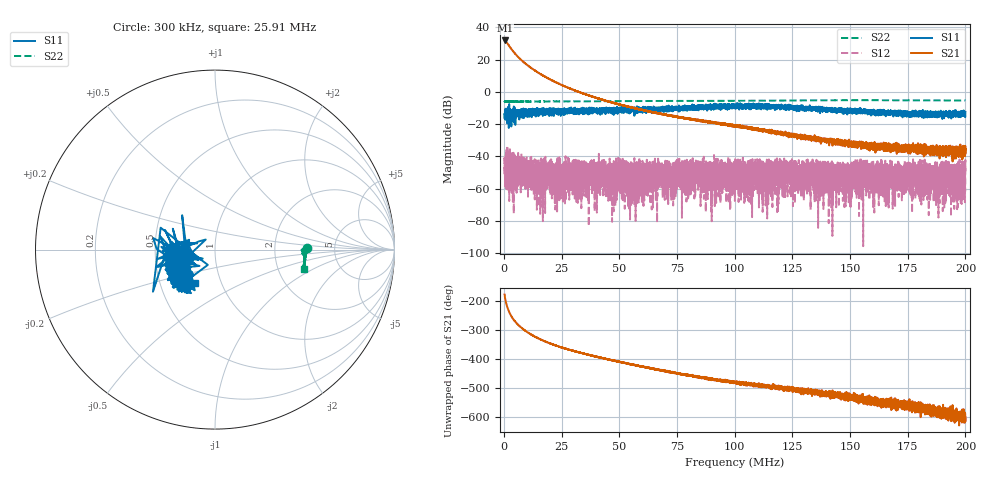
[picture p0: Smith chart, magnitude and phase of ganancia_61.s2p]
# Hz S DB R 50
! CMT, M5065, 19127446, 24.2.4/2
! Date: 11/8/2024 3:26:05 PM
! Data: Format (Calibration Info)
! Freq	S11:dB/Ang(F2)	S21:dB/Ang(F2)	S12:dB/Ang(F2)	S22:dB/Ang(F2)
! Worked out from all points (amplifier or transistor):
!   9000 points, 300 kHz to 200 MHz, reference 50 ohm
!   highest |S21| = 31.9 dB at 322.2 kHz (marker M1)
!   |S21| within 3 dB of that: start of sweep to 2.027 MHz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
!   unconditionally stable (mu >= 1): start of sweep to 971.1 kHz; 1.459 MHz to 2.54 MHz; 2.542 MHz to end of sweep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
!   at 33.59 MHz: K = 117.75, MAG = 1.0 dB, |S12| = -50.0 dB
!   at 100.2 MHz: K = 6003.91, MAG = -19.2 dB, |S12| = -64.6 dB
!   at 200 MHz: K = 5694.52, MAG = -34.0 dB, |S12| = -48.9 dB
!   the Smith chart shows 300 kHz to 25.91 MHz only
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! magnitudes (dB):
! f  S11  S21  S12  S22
! 300 kHz  -14.0  31.9  -40.3  -5.8
! 322.2 kHz  -16.6  31.9  -42.3  -6.1
! 3.274 MHz  -11.8  26.5  -51.1  -6.0
! 6.336 MHz  -12.9  21.4  -40.0  -6.0
! 12.88 MHz  -12.4  13.8  -52.1  -6.0
! 18.9 MHz  -12.0  8.6  -59.9  -6.0
! 33.59 MHz  -11.8  -0.6  -50.0  -5.9
! 48.48 MHz  -10.8  -7.1  -54.3  -5.8
! 52.58 MHz  -11.3  -8.8  -48.5  -5.8
! 54.85 MHz  -12.9  -9.6  -68.7  -5.7
! 66.87 MHz  -11.7  -13.2  -45.1  -5.6
! 100.2 MHz  -8.1  -21.3  -64.6  -5.5
! 111.4 MHz  -10.4  -23.7  -59.4  -5.5
! 117 MHz  -9.8  -25.2  -46.1  -5.5
! 133.4 MHz  -11.3  -29.0  -47.7  -5.3
! 137.2 MHz  -10.5  -29.5  -43.3  -5.2
! 144.5 MHz  -11.8  -30.8  -53.4  -5.2
! 150.1 MHz  -11.4  -32.5  -53.8  -5.2
! 151.6 MHz  -10.8  -30.8  -47.1  -5.2
! 166.7 MHz  -13.7  -34.2  -71.8  -5.2
! 194.6 MHz  -13.7  -38.7  -55.9  -5.4
! 200 MHz  -12.4  -35.7  -48.9  -5.4
